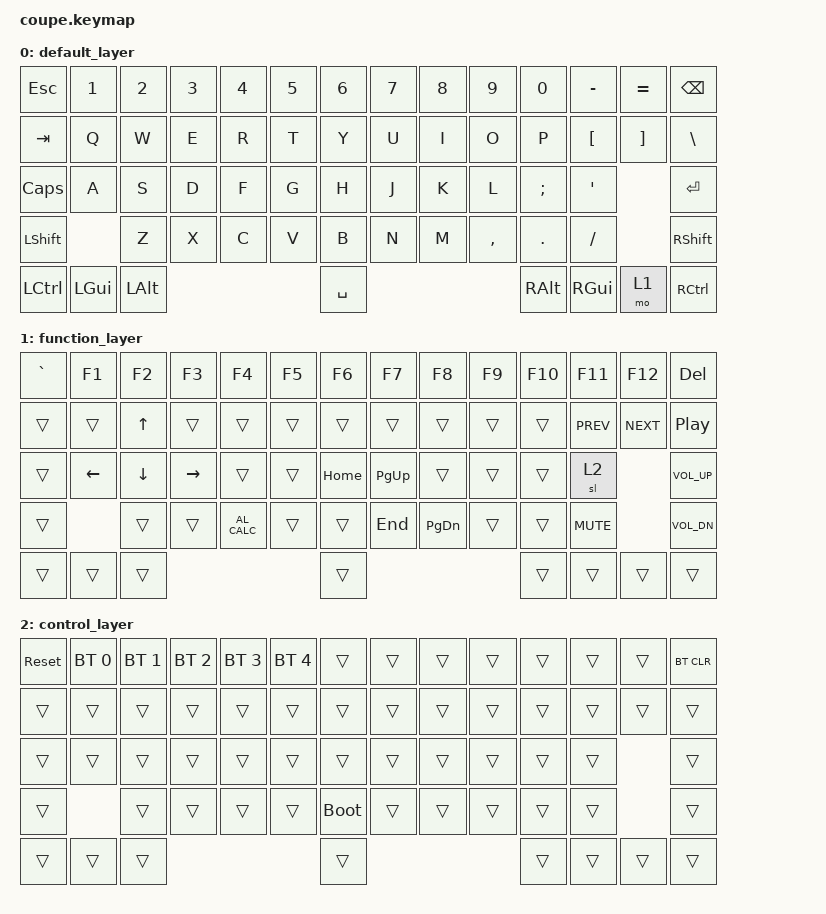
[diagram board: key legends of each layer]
/*
 * Copyright (c) 2021 The ZMK Contributors
 *
 * SPDX-License-Identifier: MIT
 */

#include <behaviors.dtsi>
#include <dt-bindings/zmk/keys.h>
#include <dt-bindings/zmk/bt.h>
#include <dt-bindings/zmk/rgb.h>
#include <dt-bindings/zmk/outputs.h>

/ {
        keymap {
                compatible = "zmk,keymap";

                default_layer {

                        bindings = <
   &kp ESC      &kp N1       &kp N2       &kp N3       &kp N4       &kp N5       &kp N6       &kp N7       &kp N8       &kp N9       &kp N0       &kp MINUS    &kp EQUAL   &kp BSPC
   &kp TAB      &kp Q        &kp W        &kp E        &kp R        &kp T        &kp Y        &kp U        &kp I        &kp O        &kp P        &kp LBKT     &kp RBKT    &kp BSLH
   &kp CAPS     &kp A        &kp S        &kp D        &kp F        &kp G        &kp H        &kp J        &kp K        &kp L        &kp SEMI     &kp SQT                  &kp ENTER
   &kp LSHFT                 &kp Z        &kp X        &kp C        &kp V        &kp B        &kp N        &kp M        &kp COMMA    &kp DOT      &kp SLASH                &kp RSHFT
   &kp LCTRL    &kp LGUI     &kp LALT                                            &kp SPACE                                           &kp RALT     &kp RGUI     &mo 1       &kp RCTL
                                >;
                        };

                function_layer {

                        bindings = <
   &kp GRAVE    &kp F1       &kp F2       &kp F3       &kp F4        &kp F5       &kp F6       &kp F7       &kp F8       &kp F9       &kp F10      &kp F11      &kp F12      &kp DEL
   &trans       &trans       &kp UP       &trans       &trans        &trans       &trans       &trans       &trans       &trans       &trans       &kp C_PREV   &kp C_NEXT   &kp C_PP
   &trans       &kp LEFT     &kp DOWN     &kp RIGHT    &trans        &trans       &kp HOME     &kp PG_UP    &trans       &trans       &trans       &sl 2                     &kp C_VOL_UP
   &trans                    &trans       &trans       &kp C_AL_CALC &trans       &trans       &kp END      &kp PG_DN    &trans       &trans       &kp C_MUTE                &kp C_VOL_DN
   &trans       &trans       &trans                                               &trans                                              &trans       &trans       &trans       &trans
                                >;
                        };

                control_layer {

                        bindings = <
   &sys_reset   &bt BT_SEL 0 &bt BT_SEL 1 &bt BT_SEL 2 &bt BT_SEL 3 &bt BT_SEL 4 &trans       &trans       &trans       &trans       &trans       &trans       &trans       &bt BT_CLR
   &trans       &trans       &trans       &trans       &trans       &trans       &trans       &trans       &trans       &trans       &trans       &trans       &trans       &trans
   &trans       &trans       &trans       &trans       &trans       &trans       &trans       &trans       &trans       &trans       &trans       &trans                    &trans
   &trans                    &trans       &trans       &trans       &trans       &bootloader  &trans       &trans       &trans       &trans       &trans                    &trans
   &trans       &trans       &trans                                              &trans                                              &trans       &trans       &trans       &trans
                                >;
                        };
        };
};
